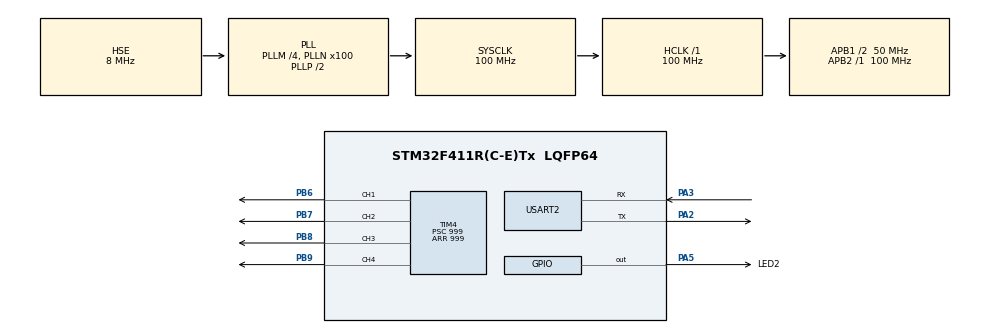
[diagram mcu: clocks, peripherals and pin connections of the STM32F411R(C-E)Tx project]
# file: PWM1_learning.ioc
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Mcu.Family=STM32F4
Mcu.Name=STM32F411R(C-E)Tx
Mcu.Package=LQFP64
NVIC.PriorityGroup=NVIC_PRIORITYGROUP_4
PA13.Mode=Serial_Wire
PA13.Signal=SYS_JTMS-SWDIO
PA14.Mode=Serial_Wire
PA14.Signal=SYS_JTCK-SWCLK
PA2.Mode=Asynchronous
PA2.Signal=USART2_TX
PA3.Mode=Asynchronous
PA3.Signal=USART2_RX
PA5.GPIO_Label=LED2
PA5.GPIO_ModeDefaultOutputPP=GPIO_MODE_OUTPUT_OD
PA5.GPIO_PuPd=GPIO_NOPULL
PA5.PinState=GPIO_PIN_SET
PA5.Signal=GPIO_Output
PB6.Signal=S_TIM4_CH1
PB7.Signal=S_TIM4_CH2
PB8.Signal=S_TIM4_CH3
PB9.Signal=S_TIM4_CH4
PH0\ -\ OSC_IN.Mode=HSE-External-Clock-Source
PH0\ -\ OSC_IN.Signal=RCC_OSC_IN
PH1\ -\ OSC_OUT.Mode=HSE-External-Clock-Source
PH1\ -\ OSC_OUT.Signal=RCC_OSC_OUT
ProjectManager.HeapSize=0x200
ProjectManager.StackSize=0x400
ProjectManager.TargetToolchain=STM32CubeIDE
RCC.48MHZClocksFreq_Value=50000000
RCC.AHBFreq_Value=100000000
RCC.APB1CLKDivider=RCC_HCLK_DIV2
RCC.APB1Freq_Value=50000000
RCC.APB1TimFreq_Value=100000000
RCC.APB2Freq_Value=100000000
RCC.APB2TimFreq_Value=100000000
RCC.CortexFreq_Value=100000000
RCC.HCLKFreq_Value=100000000
RCC.HSE_VALUE=8000000
RCC.HSI_VALUE=16000000
RCC.LSE_VALUE=32768
RCC.PLLM=4
RCC.PLLN=100
RCC.PLLSourceVirtual=RCC_PLLSOURCE_HSE
RCC.SYSCLKFreq_VALUE=100000000
RCC.SYSCLKSource=RCC_SYSCLKSOURCE_PLLCLK
RCC.VCOOutputFreq_Value=200000000
SH.S_TIM4_CH1.0=TIM4_CH1,PWM Generation1 CH1
SH.S_TIM4_CH2.0=TIM4_CH2,PWM Generation2 CH2
SH.S_TIM4_CH3.0=TIM4_CH3,PWM Generation3 CH3
SH.S_TIM4_CH4.0=TIM4_CH4,PWM Generation4 CH4
TIM4.Channel-PWM\ Generation1\ CH1=TIM_CHANNEL_1
TIM4.Channel-PWM\ Generation2\ CH2=TIM_CHANNEL_2
TIM4.Channel-PWM\ Generation3\ CH3=TIM_CHANNEL_3
TIM4.Channel-PWM\ Generation4\ CH4=TIM_CHANNEL_4
TIM4.Period=999
TIM4.Prescaler=999
TIM4.Pulse-PWM\ Generation1\ CH1=0
USART2.VirtualMode=VM_ASYNC
VP_TIM4_VS_ClockSourceINT.Mode=Internal
board=custom

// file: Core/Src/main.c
/* USER CODE BEGIN Header */
/**
  ******************************************************************************
  * @file           : main.c
  * @brief          : Main program body
  ******************************************************************************
  * @attention
  *
  * Copyright (c) 2026 STMicroelectronics.
  * All rights reserved.
  *
  * This software is licensed under terms that can be found in the LICENSE file
  * in the root directory of this software component.
  * If no LICENSE file comes with this software, it is provided AS-IS.
  *
  ******************************************************************************
  */
/* USER CODE END Header */
#include "main.h"

/* USER CODE BEGIN Includes */

#include<stdio.h>
#include<string.h>

/* USER CODE END Includes */

TIM_HandleTypeDef htim4;

UART_HandleTypeDef huart2;

void SystemClock_Config(void);
static void MX_GPIO_Init(void);
static void MX_USART2_UART_Init(void);
static void MX_TIM4_Init(void);

/* USER CODE BEGIN 0 */

int send_message(char* ptr, int len){
		int status = HAL_UART_Transmit(&huart2, (uint8_t *) ptr, len, HAL_MAX_DELAY);
		// atentie insa, metoda asta de transmisie de mesaje este mancatoare de ceas
		// ideal ar fi sa o fac cu intrerupere sau cu DMA

		if(status == HAL_OK)
			return len;
		else return -1;
	}

/* USER CODE END 0 */

int main(void)
{

  /* USER CODE BEGIN 1 */

	uint8_t mesaj4[] = "Buton apasat!\r\n";
	uint8_t message_buffer[100];
	uint8_t len_mesaj1 = 17;
	uint8_t len_mesaj4 = 15;

  /* USER CODE END 1 */

  /* MCU Configuration--------------------------------------------------------*/

  /* Reset of all peripherals, Initializes the Flash interface and the Systick. */
  HAL_Init();

  /* Configure the system clock */
  SystemClock_Config();

  /* Initialize all configured peripherals */
  MX_GPIO_Init();
  MX_USART2_UART_Init();
  MX_TIM4_Init();
  /* USER CODE BEGIN 2 */

  uint32_t now = 0;
  uint32_t next_tick = 1000;
  uint32_t loop_count = 0;
  uint32_t next_change = 0;

  uint16_t pwm_value = 0;
  int8_t pwm_change = 1;

  send_message("Incepe exercitiul stm32_pwm1!\r\n", 32);

  HAL_TIM_PWM_Start(&htim4, TIM_CHANNEL_1);
  HAL_TIM_PWM_Start(&htim4, TIM_CHANNEL_2);
  HAL_TIM_PWM_Start(&htim4, TIM_CHANNEL_3);
  HAL_TIM_PWM_Start(&htim4, TIM_CHANNEL_4);

  //__HAL_TIM_SET_COMPARE(&htim4, TIM_CHANNEL_1, 500);
  // funcita de mai sus schimba duty cycle-ul din cod fata de schimbarea din HW pe care o fac in CubeMX

  /* USER CODE END 2 */

  /* Infinite loop */
  while (1)
  {

    /* USER CODE BEGIN 3 */

	  now = HAL_GetTick();

	 	  if(now>=next_tick){

	 		  // vreau sa si trimit la a cata secunda sunt
	 		  int mess_len = snprintf(message_buffer, 100, "Impuls trimis la secunda: %lu | loop: %lu\r\n",now/1000, loop_count );

	 		  send_message(message_buffer, mess_len);

	 		  loop_count = 0;
	 		  next_tick = now + 1000;
	 	  }

	 	  if(now >= next_change){

	 		  __HAL_TIM_SET_COMPARE(&htim4, TIM_CHANNEL_1, pwm_value);
	 		  __HAL_TIM_SET_COMPARE(&htim4, TIM_CHANNEL_2, 1000 -pwm_value);
	 		  __HAL_TIM_SET_COMPARE(&htim4, TIM_CHANNEL_3, pwm_value);
	 		  __HAL_TIM_SET_COMPARE(&htim4, TIM_CHANNEL_4, 1000 - pwm_value);
	 		  pwm_value += pwm_change;

	 		  if(pwm_value == 0) pwm_change = 1;
	 		  if(pwm_value == 1000) pwm_change = -1;

	 		  next_change = now+2;
	 	  }

	 ++loop_count;
  }
  /* USER CODE END 3 */
}

void SystemClock_Config(void)
{
  RCC_OscInitTypeDef RCC_OscInitStruct = {0};
  RCC_ClkInitTypeDef RCC_ClkInitStruct = {0};

  /** Configure the main internal regulator output voltage
  */
  __HAL_RCC_PWR_CLK_ENABLE();
  __HAL_PWR_VOLTAGESCALING_CONFIG(PWR_REGULATOR_VOLTAGE_SCALE1);

  /** Initializes the RCC Oscillators according to the specified parameters
  * in the RCC_OscInitTypeDef structure.
  */
  RCC_OscInitStruct.OscillatorType = RCC_OSCILLATORTYPE_HSE;
  RCC_OscInitStruct.HSEState = RCC_HSE_BYPASS;
  RCC_OscInitStruct.PLL.PLLState = RCC_PLL_ON;
  RCC_OscInitStruct.PLL.PLLSource = RCC_PLLSOURCE_HSE;
  RCC_OscInitStruct.PLL.PLLM = 4;
  RCC_OscInitStruct.PLL.PLLN = 100;
  RCC_OscInitStruct.PLL.PLLP = RCC_PLLP_DIV2;
  RCC_OscInitStruct.PLL.PLLQ = 4;
  if (HAL_RCC_OscConfig(&RCC_OscInitStruct) != HAL_OK)
  {
    Error_Handler();
  }

  /** Initializes the CPU, AHB and APB buses clocks
  */
  RCC_ClkInitStruct.ClockType = RCC_CLOCKTYPE_HCLK|RCC_CLOCKTYPE_SYSCLK
                              |RCC_CLOCKTYPE_PCLK1|RCC_CLOCKTYPE_PCLK2;
  RCC_ClkInitStruct.SYSCLKSource = RCC_SYSCLKSOURCE_PLLCLK;
  RCC_ClkInitStruct.AHBCLKDivider = RCC_SYSCLK_DIV1;
  RCC_ClkInitStruct.APB1CLKDivider = RCC_HCLK_DIV2;
  RCC_ClkInitStruct.APB2CLKDivider = RCC_HCLK_DIV1;

  if (HAL_RCC_ClockConfig(&RCC_ClkInitStruct, FLASH_LATENCY_3) != HAL_OK)
  {
    Error_Handler();
  }
}

static void MX_TIM4_Init(void)
{

  TIM_ClockConfigTypeDef sClockSourceConfig = {0};
  TIM_MasterConfigTypeDef sMasterConfig = {0};
  TIM_OC_InitTypeDef sConfigOC = {0};

  htim4.Instance = TIM4;
  htim4.Init.Prescaler = 999;
  htim4.Init.CounterMode = TIM_COUNTERMODE_UP;
  htim4.Init.Period = 999;
  htim4.Init.ClockDivision = TIM_CLOCKDIVISION_DIV1;
  htim4.Init.AutoReloadPreload = TIM_AUTORELOAD_PRELOAD_DISABLE;
  if (HAL_TIM_Base_Init(&htim4) != HAL_OK)
  {
    Error_Handler();
  }
  sClockSourceConfig.ClockSource = TIM_CLOCKSOURCE_INTERNAL;
  if (HAL_TIM_ConfigClockSource(&htim4, &sClockSourceConfig) != HAL_OK)
  {
    Error_Handler();
  }
  if (HAL_TIM_PWM_Init(&htim4) != HAL_OK)
  {
    Error_Handler();
  }
  sMasterConfig.MasterOutputTrigger = TIM_TRGO_RESET;
  sMasterConfig.MasterSlaveMode = TIM_MASTERSLAVEMODE_DISABLE;
  if (HAL_TIMEx_MasterConfigSynchronization(&htim4, &sMasterConfig) != HAL_OK)
  {
    Error_Handler();
  }
  sConfigOC.OCMode = TIM_OCMODE_PWM1;
  sConfigOC.Pulse = 0;
  sConfigOC.OCPolarity = TIM_OCPOLARITY_HIGH;
  sConfigOC.OCFastMode = TIM_OCFAST_DISABLE;
  if (HAL_TIM_PWM_ConfigChannel(&htim4, &sConfigOC, TIM_CHANNEL_1) != HAL_OK)
  {
    Error_Handler();
  }
  if (HAL_TIM_PWM_ConfigChannel(&htim4, &sConfigOC, TIM_CHANNEL_2) != HAL_OK)
  {
    Error_Handler();
  }
  if (HAL_TIM_PWM_ConfigChannel(&htim4, &sConfigOC, TIM_CHANNEL_3) != HAL_OK)
  {
    Error_Handler();
  }
  if (HAL_TIM_PWM_ConfigChannel(&htim4, &sConfigOC, TIM_CHANNEL_4) != HAL_OK)
  {
    Error_Handler();
  }
  HAL_TIM_MspPostInit(&htim4);

}

static void MX_USART2_UART_Init(void)
{

  huart2.Instance = USART2;
  huart2.Init.BaudRate = 115200;
  huart2.Init.WordLength = UART_WORDLENGTH_8B;
  huart2.Init.StopBits = UART_STOPBITS_1;
  huart2.Init.Parity = UART_PARITY_NONE;
  huart2.Init.Mode = UART_MODE_TX_RX;
  huart2.Init.HwFlowCtl = UART_HWCONTROL_NONE;
  huart2.Init.OverSampling = UART_OVERSAMPLING_16;
  if (HAL_UART_Init(&huart2) != HAL_OK)
  {
    Error_Handler();
  }

}

static void MX_GPIO_Init(void)
{
  GPIO_InitTypeDef GPIO_InitStruct = {0};

  /* GPIO Ports Clock Enable */
  __HAL_RCC_GPIOH_CLK_ENABLE();
  __HAL_RCC_GPIOA_CLK_ENABLE();
  __HAL_RCC_GPIOB_CLK_ENABLE();

  /*Configure GPIO pin Output Level */
  HAL_GPIO_WritePin(LED2_GPIO_Port, LED2_Pin, GPIO_PIN_SET);

  /*Configure GPIO pin : LED2_Pin */
  GPIO_InitStruct.Pin = LED2_Pin;
  GPIO_InitStruct.Mode = GPIO_MODE_OUTPUT_OD;
  GPIO_InitStruct.Pull = GPIO_NOPULL;
  GPIO_InitStruct.Speed = GPIO_SPEED_FREQ_LOW;
  HAL_GPIO_Init(LED2_GPIO_Port, &GPIO_InitStruct);

}

/* USER CODE BEGIN 4 */

// Callback-uri pentru procesare audio in fundal in timp de DMA umple bufferul
// pentru jumatate de buffer
/*void HAL_I2S_RxHalfCpltCallback(I2S_HandleTypeDef *hi2s){
	extern T5838_HandleTypeDef hmic1;
	if(hi2s->Instance==SPI2){
		T5838_ProcessAudioBlock(&hmic1, &hmic1.pdm_buffer[0], T5838_PDM_BUF_SIZE/2);
	}
}

// pentru buffer plin
void HAL_I2S_RxCpltCallback(I2S_HandleTypeDef *hi2s){
	extern T5838_HandleTypeDef hmic1;
	if(hi2s->Instance==SPI2){
		T5838_ProcessAudioBlock(&hmic1, &hmic1.pdm_buffer[T5838_PDM_BUF_SIZE/2], T5838_PDM_BUF_SIZE/2);
	}
}

*/

/* USER CODE END 4 */

void Error_Handler(void)
{
  __disable_irq();
  while (1)
  {
  }
}
